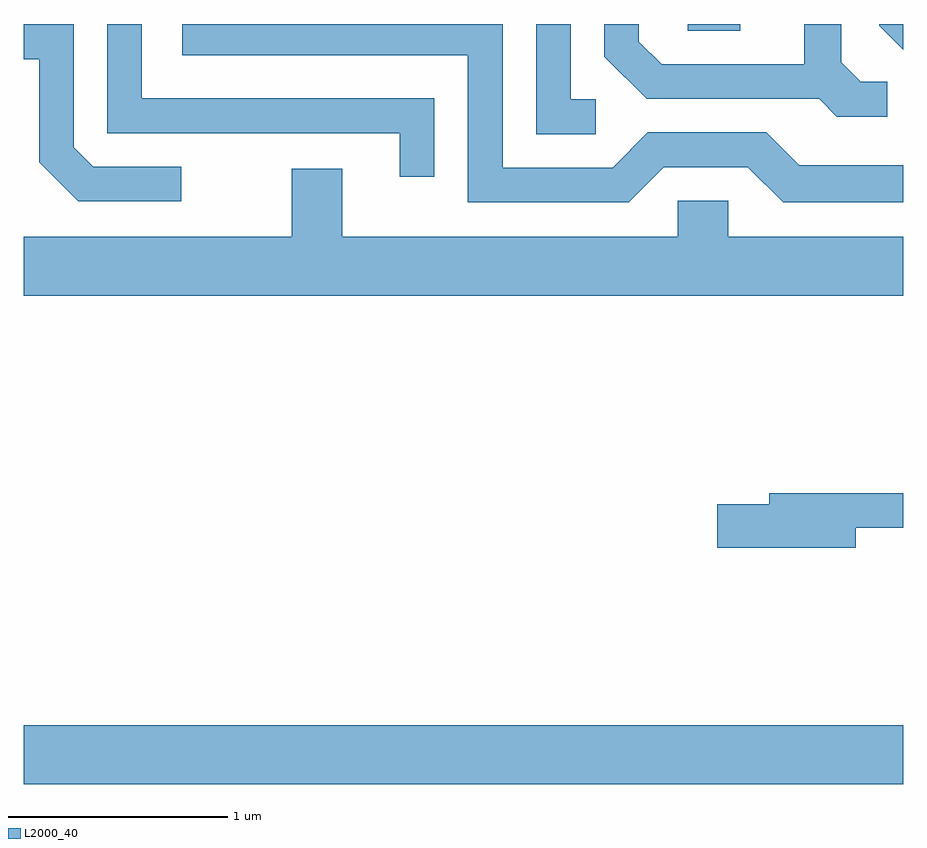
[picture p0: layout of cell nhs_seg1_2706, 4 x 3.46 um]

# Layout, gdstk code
import gdstk
lib = gdstk.Library(unit=1e-6, precision=1e-09)
def R(c, l, rs):  # rectangles x0, y0, x1, y1
    for r in rs: c.add(gdstk.rectangle(r[:2], r[2:], *l))
def P(c, l, *ps):  # polygons
    for p in ps: c.add(gdstk.Polygon(p, *l))
L2000_40 = (2000, 40)

nhs_seg1_2706 = lib.new_cell('nhs_seg1_2706')
R(nhs_seg1_2706, L2000_40, [(267.611,886.256,271.611,886.524), (270.631,889.681,270.869,889.712)])
P(nhs_seg1_2706, L2000_40, [(271.538,889.449),(271.417,889.449),(271.329,889.537),(271.329,889.712),(271.161,889.712),(271.161,889.529),(270.512,889.529),(270.409,889.632),(270.409,889.712),(270.251,889.712),(270.251,889.564),(270.444,889.371),(271.229,889.371),(271.309,889.291),(271.538,889.291)],
  [(268.328,889.064),(267.927,889.064),(267.839,889.152),(267.839,889.712),(267.611,889.712),(267.611,889.551),(267.681,889.551),(267.681,889.084),(267.859,888.906),(268.328,888.906)],
  [(270.213,889.369),(270.099,889.369),(270.099,889.712),(269.941,889.712),(269.941,889.211),(270.213,889.211)],
  [(270.522,889.061),(270.904,889.061),(271.064,888.901),(271.611,888.901),(271.611,889.069),(271.137,889.069),(270.987,889.219),(270.449,889.219),(270.289,889.059),(269.789,889.059),(269.789,889.712),(268.331,889.712),(268.331,889.571),(269.631,889.571),(269.631,888.901),(270.362,888.901)],
  [(271.611,889.712),(271.501,889.712),(271.501,889.704),(271.611,889.594)],
  [(269.479,889.374),(268.149,889.374),(268.149,889.712),(267.991,889.712),(267.991,889.216),(269.321,889.216),(269.321,889.018),(269.479,889.018)],
  [(271.611,888.744),(270.814,888.744),(270.814,888.909),(270.586,888.909),(270.586,888.744),(269.059,888.744),(269.059,889.054),(268.831,889.054),(268.831,888.744),(267.611,888.744),(267.611,888.476),(271.611,888.476)],
  [(271.394,887.421),(271.611,887.421),(271.611,887.579),(271.001,887.579),(271.001,887.529),(270.766,887.529),(270.766,887.331),(271.394,887.331)])

lib.write_gds('nhs_seg1_2706.gds')
